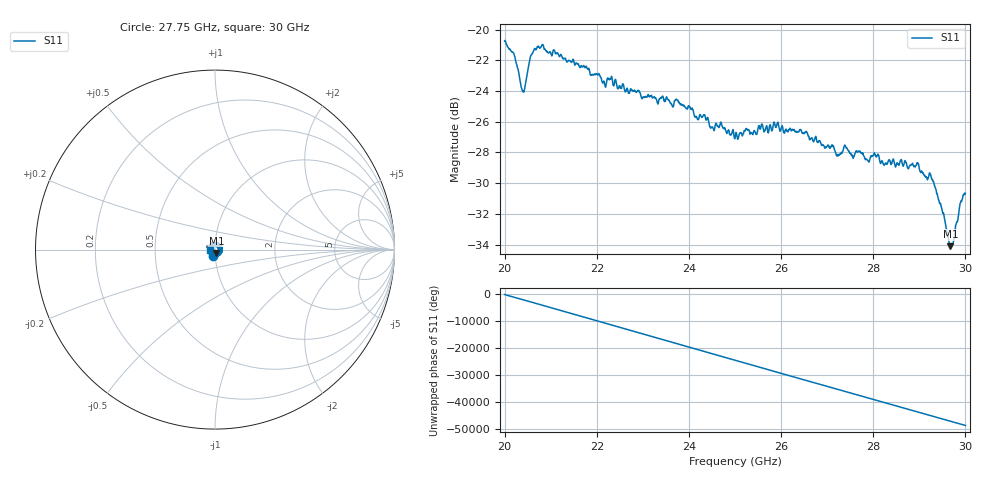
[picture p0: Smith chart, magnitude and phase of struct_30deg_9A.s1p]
#  HZ  S  RI  R  50.00
! Rohde & Schwarz ZVA40 4Ports - Version 3.90 - 1145.1110k42 SN: 100403
! Date: 2023-09-28 10:03:02
! Measurement: S12
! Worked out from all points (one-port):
!   5001 points, 20 GHz to 30 GHz, reference 50 ohm
!   lowest |S11| = -34.1 dB at 29.67 GHz (marker M1), VSWR 1.04, Z = 50.7 - j1.85 ohm
!   |S11| at or under -10 dB: start of sweep to end of sweep
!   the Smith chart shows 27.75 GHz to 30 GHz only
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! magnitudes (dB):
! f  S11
! 20 GHz  -20.7
! 20.21 GHz  -21.7
! 20.4 GHz  -24.0
! 20.57 GHz  -21.7
! 20.68 GHz  -21.3
! 21.25 GHz  -21.8
! 22.5 GHz  -23.7
! 23.63 GHz  -24.9
! 23.75 GHz  -24.6
! 24.17 GHz  -25.7
! 24.36 GHz  -25.8
! 24.5 GHz  -26.4
! 24.71 GHz  -26.2
! 25 GHz  -27.1
! 25.89 GHz  -26.4
! 26.25 GHz  -26.5
! 27.12 GHz  -27.6
! 27.23 GHz  -28.2
! 27.4 GHz  -27.6
! 27.5 GHz  -28.1
! 28.75 GHz  -29.0
! 28.95 GHz  -28.7
! 29.26 GHz  -29.7
! 29.5 GHz  -31.9
! 29.67 GHz  -34.1
! 29.73 GHz  -33.9
! 29.91 GHz  -31.2
! 30 GHz  -30.7
